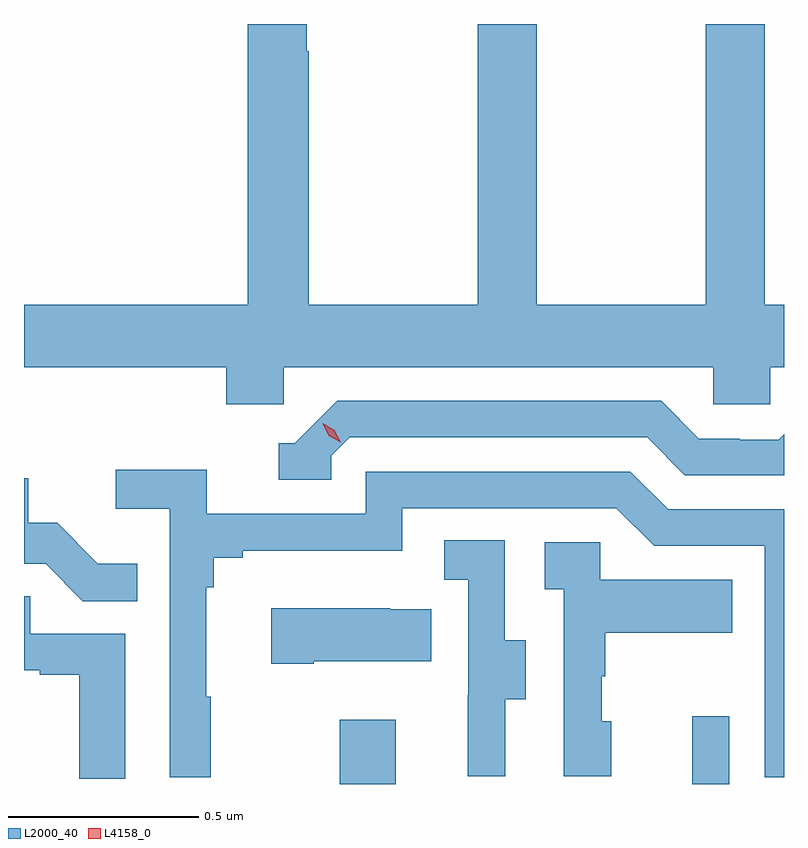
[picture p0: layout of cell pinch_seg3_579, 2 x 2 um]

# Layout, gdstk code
import gdstk
lib = gdstk.Library(unit=1e-6, precision=1e-09)
def R(c, l, rs):  # rectangles x0, y0, x1, y1
    for r in rs: c.add(gdstk.rectangle(r[:2], r[2:], *l))
def P(c, l, *ps):  # polygons
    for p in ps: c.add(gdstk.Polygon(p, *l))
L2000_40 = (2000, 40)
L4158_0 = (4158, 0)

pinch_seg3_579 = lib.new_cell('pinch_seg3_579')
R(pinch_seg3_579, L2000_40, [(1143.07,705.147,1143.217,705.316), (1143.998,705.147,1144.095,705.325)])
P(pinch_seg3_579, L2000_40, [(1142.922,706.244),(1144.053,706.244),(1144.053,706.146),(1144.203,706.146),(1144.203,706.244),(1144.239,706.244),(1144.239,706.408),(1144.188,706.408),(1144.188,707.147),(1144.033,707.147),(1144.033,706.408),(1143.588,706.408),(1143.588,707.147),(1143.433,707.147),(1143.433,706.408),(1142.988,706.408),(1142.988,707.075),(1142.983,707.075),(1142.983,707.147),(1142.828,707.147),(1142.828,706.408),(1142.239,706.408),(1142.239,706.244),(1142.771,706.244),(1142.771,706.146),(1142.922,706.146)],
  [(1143.048,706.011),(1143.096,706.059),(1143.879,706.059),(1143.978,705.96),(1144.239,705.96),(1144.239,706.067),(1144.225,706.053),(1144.122,706.053),(1144.122,706.056),(1144.015,706.056),(1143.916,706.155),(1143.063,706.155),(1142.952,706.044),(1142.909,706.044),(1142.909,705.948),(1143.048,705.948)],
  [(1142.731,705.377),(1142.719,705.377),(1142.719,705.665),(1142.738,705.665),(1142.738,705.742),(1142.815,705.742),(1142.815,705.761),(1143.234,705.761),(1143.234,705.873),(1143.798,705.873),(1143.897,705.774),(1144.188,705.774),(1144.188,705.165),(1144.239,705.165),(1144.239,705.87),(1143.934,705.87),(1143.835,705.969),(1143.138,705.969),(1143.138,705.858),(1142.72,705.858),(1142.72,705.974),(1142.481,705.974),(1142.481,705.872),(1142.622,705.872),(1142.622,705.165),(1142.731,705.165)],
  [(1142.537,705.727),(1142.433,705.727),(1142.326,705.834),(1142.25,705.834),(1142.25,705.951),(1142.239,705.951),(1142.239,705.726),(1142.296,705.726),(1142.394,705.628),(1142.537,705.628)],
  [(1143.505,705.37),(1143.559,705.37),(1143.559,705.525),(1143.504,705.525),(1143.504,705.788),(1143.345,705.788),(1143.345,705.685),(1143.408,705.685),(1143.408,705.381),(1143.407,705.381),(1143.407,705.168),(1143.505,705.168)],
  [(1143.784,705.312),(1143.759,705.312),(1143.759,705.431),(1143.769,705.431),(1143.769,705.545),(1144.103,705.545),(1144.103,705.685),(1143.756,705.685),(1143.756,705.783),(1143.609,705.783),(1143.609,705.659),(1143.66,705.659),(1143.66,705.168),(1143.784,705.168)],
  [(1142.506,705.543),(1142.255,705.543),(1142.255,705.641),(1142.239,705.641),(1142.239,705.447),(1142.281,705.447),(1142.281,705.435),(1142.384,705.435),(1142.384,705.161),(1142.506,705.161)],
  [(1143.001,705.47),(1143.311,705.47),(1143.311,705.607),(1143.203,705.607),(1143.203,705.61),(1142.889,705.61),(1142.889,705.463),(1143.001,705.463)])
P(pinch_seg3_579, L4158_0, [(1143.072,706.046),(1143.041,706.064),(1143.025,706.096),(1143.025,706.097),(1143.025,706.097),(1143.056,706.078),(1143.072,706.046),(1143.072,706.046)])

lib.write_gds('pinch_seg3_579.gds')
